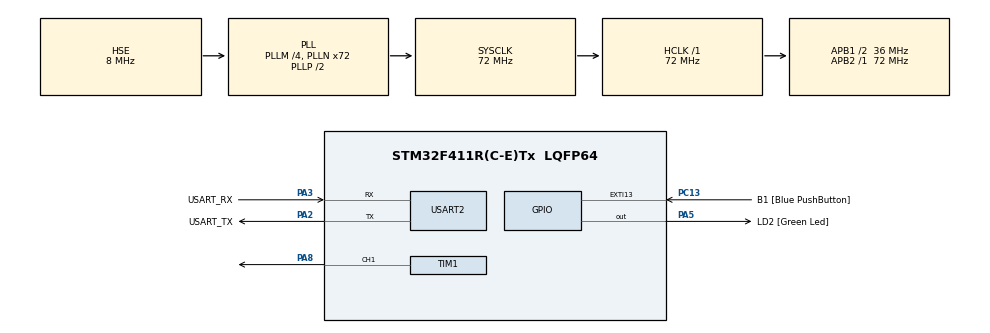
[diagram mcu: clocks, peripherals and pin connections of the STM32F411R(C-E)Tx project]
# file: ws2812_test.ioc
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Dma.Request0=TIM1_CH1
Dma.TIM1_CH1.0.Direction=DMA_MEMORY_TO_PERIPH
Dma.TIM1_CH1.0.FIFOMode=DMA_FIFOMODE_DISABLE
Dma.TIM1_CH1.0.Instance=DMA2_Stream1
Dma.TIM1_CH1.0.MemDataAlignment=DMA_MDATAALIGN_HALFWORD
Dma.TIM1_CH1.0.MemInc=DMA_MINC_ENABLE
Dma.TIM1_CH1.0.Mode=DMA_NORMAL
Dma.TIM1_CH1.0.PeriphDataAlignment=DMA_PDATAALIGN_HALFWORD
Dma.TIM1_CH1.0.PeriphInc=DMA_PINC_DISABLE
Dma.TIM1_CH1.0.Priority=DMA_PRIORITY_LOW
Mcu.Family=STM32F4
Mcu.Name=STM32F411R(C-E)Tx
Mcu.Package=LQFP64
NVIC.DMA2_Stream1_IRQn=true\:0\:0\:false\:false\:true\:false\:true\:true
NVIC.PriorityGroup=NVIC_PRIORITYGROUP_0
PA13.GPIO_Label=TMS
PA13.Mode=Serial_Wire
PA13.Signal=SYS_JTMS-SWDIO
PA14.GPIO_Label=TCK
PA14.Mode=Serial_Wire
PA14.Signal=SYS_JTCK-SWCLK
PA2.GPIO_Label=USART_TX
PA2.Mode=Asynchronous
PA2.Signal=USART2_TX
PA3.GPIO_Label=USART_RX
PA3.Mode=Asynchronous
PA3.Signal=USART2_RX
PA5.GPIO_Label=LD2 [Green Led]
PA5.Signal=GPIO_Output
PA8.Signal=S_TIM1_CH1
PB3.GPIO_Label=SWO
PB3.Signal=SYS_JTDO-SWO
PC13-ANTI_TAMP.GPIO_Label=B1 [Blue PushButton]
PC13-ANTI_TAMP.GPIO_ModeDefaultEXTI=GPIO_MODE_IT_FALLING
PC13-ANTI_TAMP.Signal=GPXTI13
PC14-OSC32_IN.Mode=LSE-External-Oscillator
PC14-OSC32_IN.Signal=RCC_OSC32_IN
PC15-OSC32_OUT.Mode=LSE-External-Oscillator
PC15-OSC32_OUT.Signal=RCC_OSC32_OUT
PH0\ -\ OSC_IN.Mode=HSE-External-Clock-Source
PH0\ -\ OSC_IN.Signal=RCC_OSC_IN
PH1\ -\ OSC_OUT.Mode=HSE-External-Clock-Source
PH1\ -\ OSC_OUT.Signal=RCC_OSC_OUT
ProjectManager.HeapSize=0x200
ProjectManager.StackSize=0x400
ProjectManager.TargetToolchain=CMake
RCC.48MHZClocksFreq_Value=36000000
RCC.AHBFreq_Value=72000000
RCC.APB1CLKDivider=RCC_HCLK_DIV2
RCC.APB1Freq_Value=36000000
RCC.APB1TimFreq_Value=72000000
RCC.APB2Freq_Value=72000000
RCC.APB2TimFreq_Value=72000000
RCC.CortexFreq_Value=72000000
RCC.FLatency-AdvancedSettings=FLASH_LATENCY_2
RCC.HCLKFreq_Value=72000000
RCC.HSE_VALUE=8000000
RCC.HSI_VALUE=16000000
RCC.PLLM=4
RCC.PLLN=72
RCC.PLLSourceVirtual=RCC_PLLSOURCE_HSE
RCC.SYSCLKFreq_VALUE=72000000
RCC.SYSCLKSource=RCC_SYSCLKSOURCE_PLLCLK
RCC.VCOOutputFreq_Value=144000000
SH.S_TIM1_CH1.0=TIM1_CH1,PWM Generation1 CH1
TIM1.Channel-PWM\ Generation1\ CH1=TIM_CHANNEL_1
TIM1.Period=89
USART2.VirtualMode=VM_ASYNC
VP_TIM1_VS_ClockSourceINT.Mode=Internal
board=NUCLEO-F411RE

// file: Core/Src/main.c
/* USER CODE BEGIN Header */
/**
  ******************************************************************************
  * @file           : main.c
  * @brief          : Main program body
  ******************************************************************************
  * @attention
  *
  * Copyright (c) 2026 Troy Hans
  * This project is licensed under the MIT License.
  *
  ******************************************************************************
  */
/* USER CODE END Header */
#include "main.h"
#include "dma.h"
#include "tim.h"
#include "usart.h"
#include "gpio.h"
#include <stdint.h>

/* USER CODE BEGIN Includes */
#include <stdlib.h>
#include "ws2812.h"
/* USER CODE END Includes */

void SystemClock_Config(void);

/* USER CODE BEGIN PFP */
void Set_Random_Flash(uint8_t brightness, uint16_t delay_ms);
void Set_Cylon(uint8_t brightness, uint8_t red, uint8_t green, uint8_t blue, uint16_t delay_ms);
void Set_Fire(uint8_t intensity, uint16_t delay_ms);
void Set_Theater_Chase(uint8_t speed, uint8_t brightness, uint16_t delay_ms);
void Run_Animations_With_Button(void);
/* USER CODE END PFP */

int main(void)
{

  /* MCU Configuration--------------------------------------------------------*/

  /* Reset of all peripherals, Initializes the Flash interface and the Systick. */
  HAL_Init();

  /* Configure the system clock */
  SystemClock_Config();

  /* Initialize all configured peripherals */
  MX_GPIO_Init();
  MX_DMA_Init();
  MX_USART2_UART_Init();
  MX_TIM1_Init();
/* USER CODE BEGIN 2 */
  WS2812_Init();
/* USER CODE END 2 */

  /* Infinite loop */
  while (1)
  {

    /* USER CODE BEGIN 3 */

    //Run_Animations_With_Button();

    //Set_Random_Flash(20, 40);     // brightness, delay_ms
    //Set_Cylon(35, 255, 0, 0, 10);      // Classic Red Cylon

// === Available Self-Contained Functions ===

    //Set_Rainbow(20, 500);                    // Static rainbow, brightness + delay

    //Set_Rotating_Rainbow_V2(1, 10, 5);         // Rotating rainbow 28 pixels (speed, brightness, delay)
    //Set_Rotating_Rainbow_V1(1, 10, 10);         // Rotating rainbow 16 pixels  (speed, brightness, delay)

    //Set_All_LEDs(255, 0, 0, 5, 500);       // Solid color (R, G, B, brightness, delay)

    Test_Sequential_Colors(20, 10);         // Test pattern: Red → Green → Blue laps
                                             // (delay per LED, brightness)

    //Set_Fire(25, 35);     // intensity 20-45, delay 30-60 looks good

    //Set_Theater_Chase(2, 10, 100);
  }
     /* USER CODE END 3 */
}

void SystemClock_Config(void)
{
  RCC_OscInitTypeDef RCC_OscInitStruct = {0};
  RCC_ClkInitTypeDef RCC_ClkInitStruct = {0};

  /** Configure the main internal regulator output voltage
  */
  __HAL_RCC_PWR_CLK_ENABLE();
  __HAL_PWR_VOLTAGESCALING_CONFIG(PWR_REGULATOR_VOLTAGE_SCALE1);

  /** Initializes the RCC Oscillators according to the specified parameters
  * in the RCC_OscInitTypeDef structure.
  */
  RCC_OscInitStruct.OscillatorType = RCC_OSCILLATORTYPE_HSE;
  RCC_OscInitStruct.HSEState = RCC_HSE_BYPASS;
  RCC_OscInitStruct.PLL.PLLState = RCC_PLL_ON;
  RCC_OscInitStruct.PLL.PLLSource = RCC_PLLSOURCE_HSE;
  RCC_OscInitStruct.PLL.PLLM = 4;
  RCC_OscInitStruct.PLL.PLLN = 72;
  RCC_OscInitStruct.PLL.PLLP = RCC_PLLP_DIV2;
  RCC_OscInitStruct.PLL.PLLQ = 4;
  if (HAL_RCC_OscConfig(&RCC_OscInitStruct) != HAL_OK)
  {
    Error_Handler();
  }

  /** Initializes the CPU, AHB and APB buses clocks
  */
  RCC_ClkInitStruct.ClockType = RCC_CLOCKTYPE_HCLK|RCC_CLOCKTYPE_SYSCLK
                              |RCC_CLOCKTYPE_PCLK1|RCC_CLOCKTYPE_PCLK2;
  RCC_ClkInitStruct.SYSCLKSource = RCC_SYSCLKSOURCE_PLLCLK;
  RCC_ClkInitStruct.AHBCLKDivider = RCC_SYSCLK_DIV1;
  RCC_ClkInitStruct.APB1CLKDivider = RCC_HCLK_DIV2;
  RCC_ClkInitStruct.APB2CLKDivider = RCC_HCLK_DIV1;

  if (HAL_RCC_ClockConfig(&RCC_ClkInitStruct, FLASH_LATENCY_2) != HAL_OK)
  {
    Error_Handler();
  }
}

/* USER CODE BEGIN 4 */
void Set_Random_Flash(uint8_t brightness, uint16_t delay_ms)
{
    // Clear the ring first
    Set_All_LEDs(0, 0, 0, 0, 0);

    // Create random vibrant flashes
    for(int i = 0; i < MAX_LED; i++)
    {
        if (rand() % 100 < 40)        // ~40% chance per LED to flash
        {
            uint8_t intensity = 140 + (rand() % 116);   // 140-255 (brighter flashes)

            uint8_t r, g, b;

            // Better random color distribution for rich primary/secondary colors
            switch(rand() % 8)
            {
                case 0:  r = intensity; g = 0;         b = 0;         break; // Red
                case 1:  r = 0;         g = intensity; b = 0;         break; // Green
                case 2:  r = 0;         g = 0;         b = intensity; break; // Blue
                case 3:  r = intensity; g = intensity; b = 0;         break; // Yellow
                case 4:  r = intensity; g = 0;         b = intensity; break; // Magenta
                case 5:  r = 0;         g = intensity; b = intensity; break; // Cyan
                case 6:  r = intensity; g = intensity/2; b = 0;       break; // Orange
                default: r = intensity; g = intensity; b = intensity; break; // White (rare)
            }

            Set_LED(i, r, g, b);
        }
    }

    Set_Brightness(brightness);
    WS2812_Send();
    HAL_Delay(delay_ms);
}

void Set_Cylon(uint8_t brightness, uint8_t red, uint8_t green, uint8_t blue, uint16_t delay_ms)
{
    static int8_t position = 0;
    static int8_t direction = 1;

    // Clear everything
    Set_All_LEDs(0, 0, 0, 0, 0);

    // Draw the scanning eye with trail
    for(int i = -2; i <= 2; i++)
    {
        int pos = position + i;
        if (pos >= 0 && pos < MAX_LED)
        {
            uint8_t intensity = (i == 0) ? 255 : (90 - (abs(i) * 30));
            if (intensity > 0)
            {
                // Apply color with intensity falloff for the trail
                Set_LED(pos,
                        (uint8_t)(red * intensity / 255),
                        (uint8_t)(green * intensity / 255),
                        (uint8_t)(blue * intensity / 255));
            }
        }
    }

    // Move the eye
    position += direction;

    // Bounce at the ends
    if (position >= MAX_LED - 1 || position <= 0)
    {
        direction = -direction;
    }

    Set_Brightness(brightness);
    WS2812_Send();
    HAL_Delay(delay_ms);
}

void Set_Fire(uint8_t intensity, uint16_t delay_ms)
{
    static uint8_t heat[MAX_LED];

    for(uint32_t i = 0; i < MAX_LED; i++)
    {
        // Cool down each pixel a little
        if (heat[i] > 15)
            heat[i] -= 15;
        else
            heat[i] = 0;

        // Random sparks from the bottom
        if (i < (MAX_LED / 3) && (rand() % 100 < 40))
        {
            heat[i] = 180 + (rand() % 76);   // Bright base
        }
    }

    // Heat spreads upward
    for(uint32_t i = MAX_LED - 1; i >= 3; i--)
    {
        heat[i] = (heat[i-1] + heat[i-2] + heat[i-3]) / 3;
    }

    // Apply colors
    for(uint32_t i = 0; i < MAX_LED; i++)
    {
        uint8_t temperature = heat[i];

        if (temperature > 180)
            Set_LED(i, 255, 80 + (rand()%60), 0);           // Hot white/yellow
        else if (temperature > 120)
            Set_LED(i, 255, 60 + (rand()%60), 0);           // Bright orange
        else if (temperature > 60)
            Set_LED(i, 255, 20 + (rand()%50), 0);           // Warm red/orange
        else
            Set_LED(i, 180, 10, 0);                         // Dim red
    }

    Set_Brightness(intensity);
    WS2812_Send();
    HAL_Delay(delay_ms);
}

void Set_Theater_Chase(uint8_t speed, uint8_t brightness, uint16_t delay_ms)
{
    static uint8_t offset = 0;

    for(uint32_t i = 0; i < MAX_LED; i++)
    {
        if ((i + offset) % 3 == 0)
        {
            // Bright white/yellow chase lights
            Set_LED(i, 255, 180, 50);
        }
        else
        {
            // Dim background
            Set_LED(i, 20, 5, 0);
        }
    }

    offset = (offset + speed) % 3;     // Moves every 3 steps for classic look

    Set_Brightness(brightness);
    WS2812_Send();
    HAL_Delay(delay_ms);
}
/*=====================Button switch+++++++++++++++++++++++++++++++++++++++++++*/
void Run_Animations_With_Button(void)
{
    static uint8_t current_mode = 0;
    static uint32_t last_press_time = 0;
    static uint8_t button_state = 1;

    uint32_t now = HAL_GetTick();

    uint8_t current_button = HAL_GPIO_ReadPin(GPIOC, GPIO_PIN_13);

    // Stronger edge detection
    if (current_button == 0 && button_state == 1 && (now - last_press_time > 20))
    {
        last_press_time = now;
        button_state = 0;

        current_mode = (current_mode + 1) % 4;

        // Optional: Force clear LEDs when switching modes
        Set_All_LEDs(0, 0, 0, 0, 0);
    }
    else if (current_button == 1)
    {
        button_state = 1;
    }

    // === Animation Modes ===
    switch(current_mode)
    {
        case 0:
            Set_Rotating_Rainbow_V2(2, 10, 10);
            break;

        case 1:
            Test_Sequential_Colors(30, 45);     // stays at your desired speed
            break;

        case 2:
            Set_Random_Flash(10, 60);
            break;

        case 3:
            Set_Cylon(35, 255, 0, 0, 40);
            break;

        default:
            current_mode = 0;
            Set_Rotating_Rainbow_V2(2, 10, 10);
            break;
    }
}
/* USER CODE END 4 */

void Error_Handler(void)
{
  __disable_irq();
  while (1)
  {
  }
}
